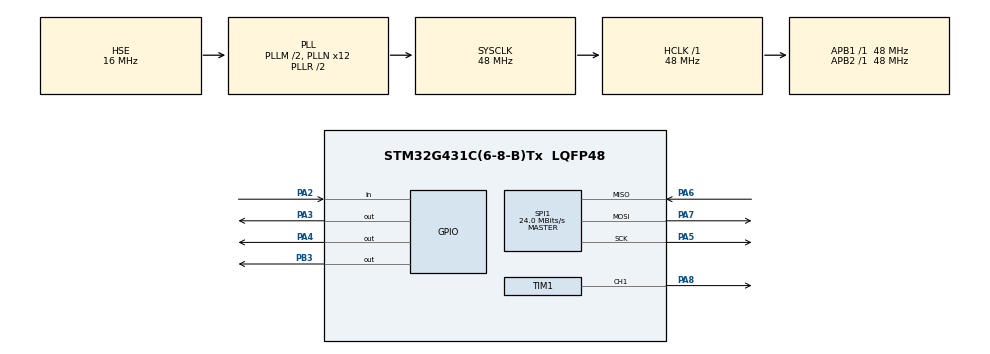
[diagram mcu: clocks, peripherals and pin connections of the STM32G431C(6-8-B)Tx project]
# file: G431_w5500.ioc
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Dma.Request0=TIM1_CH1
Dma.TIM1_CH1.0.Direction=DMA_MEMORY_TO_PERIPH
Dma.TIM1_CH1.0.EventEnable=DISABLE
Dma.TIM1_CH1.0.Instance=DMA1_Channel1
Dma.TIM1_CH1.0.MemDataAlignment=DMA_MDATAALIGN_HALFWORD
Dma.TIM1_CH1.0.MemInc=DMA_MINC_ENABLE
Dma.TIM1_CH1.0.Mode=DMA_NORMAL
Dma.TIM1_CH1.0.PeriphDataAlignment=DMA_PDATAALIGN_HALFWORD
Dma.TIM1_CH1.0.PeriphInc=DMA_PINC_DISABLE
Dma.TIM1_CH1.0.Polarity=HAL_DMAMUX_REQ_GEN_RISING
Dma.TIM1_CH1.0.Priority=DMA_PRIORITY_LOW
Dma.TIM1_CH1.0.RequestNumber=1
Dma.TIM1_CH1.0.SignalID=NONE
Dma.TIM1_CH1.0.SyncEnable=DISABLE
Dma.TIM1_CH1.0.SyncPolarity=HAL_DMAMUX_SYNC_NO_EVENT
Dma.TIM1_CH1.0.SyncRequestNumber=1
Dma.TIM1_CH1.0.SyncSignalID=NONE
Mcu.Family=STM32G4
Mcu.Name=STM32G431C(6-8-B)Tx
Mcu.Package=LQFP48
NVIC.DMA1_Channel1_IRQn=true\:0\:0\:false\:false\:true\:false\:true\:true
NVIC.PriorityGroup=NVIC_PRIORITYGROUP_4
PA13.Mode=Serial_Wire
PA13.Signal=SYS_JTMS-SWDIO
PA14.Mode=Serial_Wire
PA14.Signal=SYS_JTCK-SWCLK
PA2.Signal=GPIO_Input
PA3.Signal=GPIO_Output
PA4.Signal=GPIO_Output
PA5.Mode=Full_Duplex_Master
PA5.Signal=SPI1_SCK
PA6.Mode=Full_Duplex_Master
PA6.Signal=SPI1_MISO
PA7.Mode=Full_Duplex_Master
PA7.Signal=SPI1_MOSI
PA8.Signal=S_TIM1_CH1
PB3.Signal=GPIO_Output
PF0-OSC_IN.Mode=HSE-External-Oscillator
PF0-OSC_IN.Signal=RCC_OSC_IN
PF1-OSC_OUT.Mode=HSE-External-Oscillator
PF1-OSC_OUT.Signal=RCC_OSC_OUT
ProjectManager.HeapSize=0x200
ProjectManager.StackSize=0x400
ProjectManager.TargetToolchain=STM32CubeIDE
RCC.ADC12Freq_Value=48000000
RCC.AHBFreq_Value=48000000
RCC.APB1Freq_Value=48000000
RCC.APB1TimFreq_Value=48000000
RCC.APB2Freq_Value=48000000
RCC.APB2TimFreq_Value=48000000
RCC.CortexFreq_Value=48000000
RCC.EXTERNAL_CLOCK_VALUE=12288000
RCC.HCLKFreq_Value=48000000
RCC.HSE_VALUE=16000000
RCC.HSI48_VALUE=48000000
RCC.HSI_VALUE=16000000
RCC.LSE_VALUE=32768
RCC.PLLM=RCC_PLLM_DIV2
RCC.PLLN=12
RCC.PLLSourceVirtual=RCC_PLLSOURCE_HSE
RCC.SYSCLKFreq_VALUE=48000000
RCC.SYSCLKSource=RCC_SYSCLKSOURCE_PLLCLK
RCC.USBFreq_Value=48000000
RCC.VCOOutputFreq_Value=96000000
SH.S_TIM1_CH1.0=TIM1_CH1,PWM Generation1 CH1
SPI1.CalculateBaudRate=24.0 MBits/s
SPI1.DataSize=SPI_DATASIZE_8BIT
SPI1.Direction=SPI_DIRECTION_2LINES
SPI1.Mode=SPI_MODE_MASTER
SPI1.VirtualType=VM_MASTER
TIM1.AutoReloadPreload=TIM_AUTORELOAD_PRELOAD_ENABLE
TIM1.Channel-PWM\ Generation1\ CH1=TIM_CHANNEL_1
TIM1.OCFastMode_PWM-PWM\ Generation1\ CH1=TIM_OCFAST_ENABLE
TIM1.PeriodNoDither=59
TIM1.Prescaler=0
TIM1.TIM_MasterSlaveMode=TIM_MASTERSLAVEMODE_ENABLE
VP_SYS_VS_DBSignals.Mode=DisableDeadBatterySignals
board=custom

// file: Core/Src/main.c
/* USER CODE BEGIN Header */
/**
  ******************************************************************************
  * @file           : main.c
  * @brief          : Main program body
  ******************************************************************************
  * @attention
  *
  * Copyright (c) 2026 STMicroelectronics.
  * All rights reserved.
  *
  * This software is licensed under terms that can be found in the LICENSE file
  * in the root directory of this software component.
  * If no LICENSE file comes with this software, it is provided AS-IS.
  *
  ******************************************************************************
  */
/* USER CODE END Header */
#include "main.h"

/* USER CODE BEGIN Includes */
#include "wizchip_conf.h"
#include "socket.h"
/* USER CODE END Includes */

SPI_HandleTypeDef hspi1;

TIM_HandleTypeDef htim1;
DMA_HandleTypeDef hdma_tim1_ch1;

void SystemClock_Config(void);
static void MX_GPIO_Init(void);
static void MX_DMA_Init(void);
static void MX_TIM1_Init(void);
static void MX_SPI1_Init(void);
/* USER CODE BEGIN PFP */
void ws2812_show(void);
void ws2812_fill_buffer(void);
/* USER CODE END PFP */

/* USER CODE BEGIN 0 */
#define LED_NUM 8
#define WS2812_BITS (LED_NUM * 24)

uint16_t ws2812_buf[WS2812_BITS];
uint8_t led_data[LED_NUM][3];  // GRB

#define TIM_PERIOD 59   // 48MHz / 800kHz - 1

#define T0H 17          // 0 の High パルス
#define T1H 33          // 1 の High パルス

volatile uint8_t ws2812_busy = 0;

void W5500_Select(void) {
    HAL_GPIO_WritePin(GPIOA, GPIO_PIN_4, GPIO_PIN_RESET); // ピン番号はご自身の環境に合わせて
}

void W5500_Unselect(void) {
    HAL_GPIO_WritePin(GPIOA, GPIO_PIN_4, GPIO_PIN_SET);
}

uint8_t W5500_ReadByte(void) {
    uint8_t rb;
    HAL_SPI_Receive(&hspi1, &rb, 1, HAL_MAX_DELAY);
    return rb;
}

void W5500_WriteByte(uint8_t wb) {
    HAL_SPI_Transmit(&hspi1, &wb, 1, HAL_MAX_DELAY);
}
/* USER CODE END 0 */

int main(void)
{

  /* MCU Configuration--------------------------------------------------------*/

  /* Reset of all peripherals, Initializes the Flash interface and the Systick. */
  HAL_Init();

  /* Configure the system clock */
  SystemClock_Config();

  /* Initialize all configured peripherals */
  MX_GPIO_Init();
  MX_DMA_Init();
  MX_TIM1_Init();
  MX_SPI1_Init();
  /* USER CODE BEGIN 2 */
  HAL_GPIO_WritePin(GPIOB, GPIO_PIN_3, GPIO_PIN_RESET);

  HAL_GPIO_WritePin(GPIOA, GPIO_PIN_3, GPIO_PIN_RESET);
  HAL_Delay(10);
  HAL_GPIO_WritePin(GPIOA, GPIO_PIN_3, GPIO_PIN_SET);
  HAL_Delay(50);
  // 初期色

  for (int i = 0; i < LED_NUM; i++) {
      led_data[i][0] = 0;
      led_data[i][1] = 0;
      led_data[i][2] = 0;
  }

  // 1. ネットワーク情報の定義
  wiz_NetInfo gWIZNETINFO = {
      .mac = {0x00, 0x08, 0xdc, 0x11, 0x22, 0x33}, // 適当な値でOK
      .ip  = {192, 168, 1, 100},                  // W5500のIP
      .sn  = {255, 255, 255, 0},                  // サブネットマスク
      .gw  = {192, 168, 1, 1},                    // ゲートウェイ
      .dns = {8, 8, 8, 8},
      .dhcp = NETINFO_STATIC
  };

  // 2. SPI関数とCS制御関数の登録 (前述の関数を実装済みと想定)
  reg_wizchip_cs_cbfunc(W5500_Select, W5500_Unselect);
  reg_wizchip_spi_cbfunc(W5500_ReadByte, W5500_WriteByte);

  // 3. W5500の初期化 (ソケットバッファサイズの設定: 各2KB)
  uint8_t memsize[2][8] = {{2,2,2,2,2,2,2,2},{2,2,2,2,2,2,2,2}};
  if(wizchip_init(memsize[0], memsize[1]) != 0) {
      // 初期化失敗時の処理
  }
  wizchip_setnetinfo(&gWIZNETINFO);

  // 送信先の情報
  uint8_t dest_ip[4] = {192, 168, 1, 2}; // ★あなたのPCのIPアドレス
  uint16_t dest_port = 5000;             // 送信先ポート番号
  uint8_t sn = 0;                        // 使用するソケット番号
  /* USER CODE END 2 */

  /* Infinite loop */
  while (1)
  {

    /* USER CODE BEGIN 3 */
	    HAL_GPIO_TogglePin(GPIOB, GPIO_PIN_3);

        for (int i = 0; i < LED_NUM; i++) {
            led_data[i][1] = 100;
            led_data[i][2] = 0;
        }
        ws2812_show();
        HAL_Delay(500);

        // 緑
        for (int i = 0; i < LED_NUM; i++) {
            led_data[i][0] = 100;
            led_data[i][1] = 0;
        }
        ws2812_show();
        HAL_Delay(500);

        // 青
        for (int i = 0; i < LED_NUM; i++) {
            led_data[i][0] = 0;
            led_data[i][2] = 100;
        }
        ws2812_show();
        HAL_Delay(500);

        // ソケットが開いていなければ開く
		if (getSn_SR(sn) == SOCK_CLOSED) {
			socket(sn, Sn_MR_UDP, 5000, 0);
		}

		// データの送信
		char *msg = "Hello from STM32G431!\r\n";
		sendto(sn, (uint8_t*)msg, strlen(msg), dest_ip, dest_port);

		HAL_GPIO_TogglePin(GPIOA, GPIO_PIN_5); // 生存確認用LED (LD2)
//		HAL_Delay(1000); // 1秒おき

  }
  /* USER CODE END 3 */
}

void SystemClock_Config(void)
{
  RCC_OscInitTypeDef RCC_OscInitStruct = {0};
  RCC_ClkInitTypeDef RCC_ClkInitStruct = {0};

  /** Configure the main internal regulator output voltage
  */
  HAL_PWREx_ControlVoltageScaling(PWR_REGULATOR_VOLTAGE_SCALE1);

  /** Initializes the RCC Oscillators according to the specified parameters
  * in the RCC_OscInitTypeDef structure.
  */
  RCC_OscInitStruct.OscillatorType = RCC_OSCILLATORTYPE_HSE;
  RCC_OscInitStruct.HSEState = RCC_HSE_ON;
  RCC_OscInitStruct.PLL.PLLState = RCC_PLL_ON;
  RCC_OscInitStruct.PLL.PLLSource = RCC_PLLSOURCE_HSE;
  RCC_OscInitStruct.PLL.PLLM = RCC_PLLM_DIV2;
  RCC_OscInitStruct.PLL.PLLN = 12;
  RCC_OscInitStruct.PLL.PLLP = RCC_PLLP_DIV2;
  RCC_OscInitStruct.PLL.PLLQ = RCC_PLLQ_DIV2;
  RCC_OscInitStruct.PLL.PLLR = RCC_PLLR_DIV2;
  if (HAL_RCC_OscConfig(&RCC_OscInitStruct) != HAL_OK)
  {
    Error_Handler();
  }

  /** Initializes the CPU, AHB and APB buses clocks
  */
  RCC_ClkInitStruct.ClockType = RCC_CLOCKTYPE_HCLK|RCC_CLOCKTYPE_SYSCLK
                              |RCC_CLOCKTYPE_PCLK1|RCC_CLOCKTYPE_PCLK2;
  RCC_ClkInitStruct.SYSCLKSource = RCC_SYSCLKSOURCE_PLLCLK;
  RCC_ClkInitStruct.AHBCLKDivider = RCC_SYSCLK_DIV1;
  RCC_ClkInitStruct.APB1CLKDivider = RCC_HCLK_DIV1;
  RCC_ClkInitStruct.APB2CLKDivider = RCC_HCLK_DIV1;

  if (HAL_RCC_ClockConfig(&RCC_ClkInitStruct, FLASH_LATENCY_1) != HAL_OK)
  {
    Error_Handler();
  }
}

static void MX_SPI1_Init(void)
{

  /* SPI1 parameter configuration*/
  hspi1.Instance = SPI1;
  hspi1.Init.Mode = SPI_MODE_MASTER;
  hspi1.Init.Direction = SPI_DIRECTION_2LINES;
  hspi1.Init.DataSize = SPI_DATASIZE_8BIT;
  hspi1.Init.CLKPolarity = SPI_POLARITY_LOW;
  hspi1.Init.CLKPhase = SPI_PHASE_1EDGE;
  hspi1.Init.NSS = SPI_NSS_SOFT;
  hspi1.Init.BaudRatePrescaler = SPI_BAUDRATEPRESCALER_2;
  hspi1.Init.FirstBit = SPI_FIRSTBIT_MSB;
  hspi1.Init.TIMode = SPI_TIMODE_DISABLE;
  hspi1.Init.CRCCalculation = SPI_CRCCALCULATION_DISABLE;
  hspi1.Init.CRCPolynomial = 7;
  hspi1.Init.CRCLength = SPI_CRC_LENGTH_DATASIZE;
  hspi1.Init.NSSPMode = SPI_NSS_PULSE_ENABLE;
  if (HAL_SPI_Init(&hspi1) != HAL_OK)
  {
    Error_Handler();
  }

}

static void MX_TIM1_Init(void)
{

  TIM_MasterConfigTypeDef sMasterConfig = {0};
  TIM_OC_InitTypeDef sConfigOC = {0};
  TIM_BreakDeadTimeConfigTypeDef sBreakDeadTimeConfig = {0};

  htim1.Instance = TIM1;
  htim1.Init.Prescaler = 0;
  htim1.Init.CounterMode = TIM_COUNTERMODE_UP;
  htim1.Init.Period = 59;
  htim1.Init.ClockDivision = TIM_CLOCKDIVISION_DIV1;
  htim1.Init.RepetitionCounter = 0;
  htim1.Init.AutoReloadPreload = TIM_AUTORELOAD_PRELOAD_ENABLE;
  if (HAL_TIM_PWM_Init(&htim1) != HAL_OK)
  {
    Error_Handler();
  }
  sMasterConfig.MasterOutputTrigger = TIM_TRGO_RESET;
  sMasterConfig.MasterOutputTrigger2 = TIM_TRGO2_RESET;
  sMasterConfig.MasterSlaveMode = TIM_MASTERSLAVEMODE_ENABLE;
  if (HAL_TIMEx_MasterConfigSynchronization(&htim1, &sMasterConfig) != HAL_OK)
  {
    Error_Handler();
  }
  sConfigOC.OCMode = TIM_OCMODE_PWM1;
  sConfigOC.Pulse = 0;
  sConfigOC.OCPolarity = TIM_OCPOLARITY_HIGH;
  sConfigOC.OCNPolarity = TIM_OCNPOLARITY_HIGH;
  sConfigOC.OCFastMode = TIM_OCFAST_ENABLE;
  sConfigOC.OCIdleState = TIM_OCIDLESTATE_RESET;
  sConfigOC.OCNIdleState = TIM_OCNIDLESTATE_RESET;
  if (HAL_TIM_PWM_ConfigChannel(&htim1, &sConfigOC, TIM_CHANNEL_1) != HAL_OK)
  {
    Error_Handler();
  }
  sBreakDeadTimeConfig.OffStateRunMode = TIM_OSSR_DISABLE;
  sBreakDeadTimeConfig.OffStateIDLEMode = TIM_OSSI_DISABLE;
  sBreakDeadTimeConfig.LockLevel = TIM_LOCKLEVEL_OFF;
  sBreakDeadTimeConfig.DeadTime = 0;
  sBreakDeadTimeConfig.BreakState = TIM_BREAK_DISABLE;
  sBreakDeadTimeConfig.BreakPolarity = TIM_BREAKPOLARITY_HIGH;
  sBreakDeadTimeConfig.BreakFilter = 0;
  sBreakDeadTimeConfig.BreakAFMode = TIM_BREAK_AFMODE_INPUT;
  sBreakDeadTimeConfig.Break2State = TIM_BREAK2_DISABLE;
  sBreakDeadTimeConfig.Break2Polarity = TIM_BREAK2POLARITY_HIGH;
  sBreakDeadTimeConfig.Break2Filter = 0;
  sBreakDeadTimeConfig.Break2AFMode = TIM_BREAK_AFMODE_INPUT;
  sBreakDeadTimeConfig.AutomaticOutput = TIM_AUTOMATICOUTPUT_DISABLE;
  if (HAL_TIMEx_ConfigBreakDeadTime(&htim1, &sBreakDeadTimeConfig) != HAL_OK)
  {
    Error_Handler();
  }
  HAL_TIM_MspPostInit(&htim1);

}

static void MX_DMA_Init(void)
{

  /* DMA controller clock enable */
  __HAL_RCC_DMAMUX1_CLK_ENABLE();
  __HAL_RCC_DMA1_CLK_ENABLE();

  /* DMA interrupt init */
  /* DMA1_Channel1_IRQn interrupt configuration */
  HAL_NVIC_SetPriority(DMA1_Channel1_IRQn, 0, 0);
  HAL_NVIC_EnableIRQ(DMA1_Channel1_IRQn);

}

static void MX_GPIO_Init(void)
{
  GPIO_InitTypeDef GPIO_InitStruct = {0};

  /* GPIO Ports Clock Enable */
  __HAL_RCC_GPIOF_CLK_ENABLE();
  __HAL_RCC_GPIOA_CLK_ENABLE();
  __HAL_RCC_GPIOB_CLK_ENABLE();

  /*Configure GPIO pin Output Level */
  HAL_GPIO_WritePin(GPIOA, GPIO_PIN_3|GPIO_PIN_4, GPIO_PIN_RESET);

  /*Configure GPIO pin Output Level */
  HAL_GPIO_WritePin(GPIOB, GPIO_PIN_3, GPIO_PIN_RESET);

  /*Configure GPIO pin : PA2 */
  GPIO_InitStruct.Pin = GPIO_PIN_2;
  GPIO_InitStruct.Mode = GPIO_MODE_INPUT;
  GPIO_InitStruct.Pull = GPIO_NOPULL;
  HAL_GPIO_Init(GPIOA, &GPIO_InitStruct);

  /*Configure GPIO pins : PA3 PA4 */
  GPIO_InitStruct.Pin = GPIO_PIN_3|GPIO_PIN_4;
  GPIO_InitStruct.Mode = GPIO_MODE_OUTPUT_PP;
  GPIO_InitStruct.Pull = GPIO_NOPULL;
  GPIO_InitStruct.Speed = GPIO_SPEED_FREQ_LOW;
  HAL_GPIO_Init(GPIOA, &GPIO_InitStruct);

  /*Configure GPIO pin : PB3 */
  GPIO_InitStruct.Pin = GPIO_PIN_3;
  GPIO_InitStruct.Mode = GPIO_MODE_OUTPUT_PP;
  GPIO_InitStruct.Pull = GPIO_NOPULL;
  GPIO_InitStruct.Speed = GPIO_SPEED_FREQ_LOW;
  HAL_GPIO_Init(GPIOB, &GPIO_InitStruct);

}

/* USER CODE BEGIN 4 */
void ws2812_fill_buffer(void)
{
    int idx = 0;

    for (int i = 0; i < LED_NUM; i++) {
        uint8_t g = led_data[i][0];
        uint8_t r = led_data[i][1];
        uint8_t b = led_data[i][2];

        uint8_t grb[3] = {g, r, b};

        for (int c = 0; c < 3; c++) {
            for (int bit = 7; bit >= 0; bit--) {
                if (grb[c] & (1 << bit)) {
                    ws2812_buf[idx++] = T1H;
                } else {
                    ws2812_buf[idx++] = T0H;
                }
            }
        }
    }
}

void ws2812_show(void)
{
    // 前回の転送が終わるまで待つ
    while (ws2812_busy);

    ws2812_fill_buffer();

    ws2812_busy = 1;

    HAL_TIM_PWM_Start_DMA(&htim1, TIM_CHANNEL_1,
                          (uint32_t*)ws2812_buf,
                          WS2812_BITS);
}

void HAL_TIM_PWM_PulseFinishedCallback(TIM_HandleTypeDef *htim)
{
    if (htim->Instance == TIM1) {
        // PWM + DMA 停止
        HAL_TIM_PWM_Stop_DMA(&htim1, TIM_CHANNEL_1);

        // 出力を Low に固定（リセットパルス用）
        __HAL_TIM_SET_COMPARE(&htim1, TIM_CHANNEL_1, 0);

        // 50µs 以上 Low を維持（ここはブロッキングでもOK）
        // 48MHz / 1us = 48カウントなので、適当に待つなら：
        for (volatile int i = 0; i < 3000; i++); // 数十µs〜

        ws2812_busy = 0;
    }
}

/* USER CODE END 4 */

void Error_Handler(void)
{
  __disable_irq();
  while (1)
  {
  }
}
